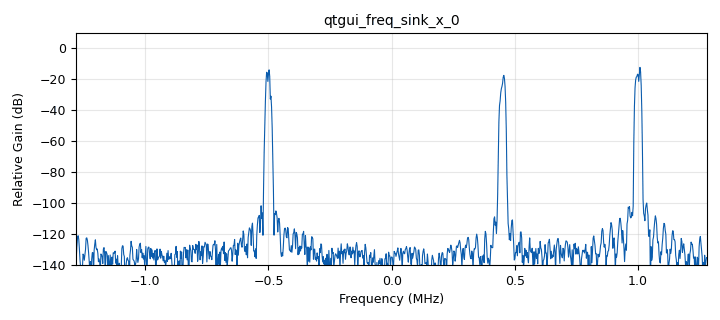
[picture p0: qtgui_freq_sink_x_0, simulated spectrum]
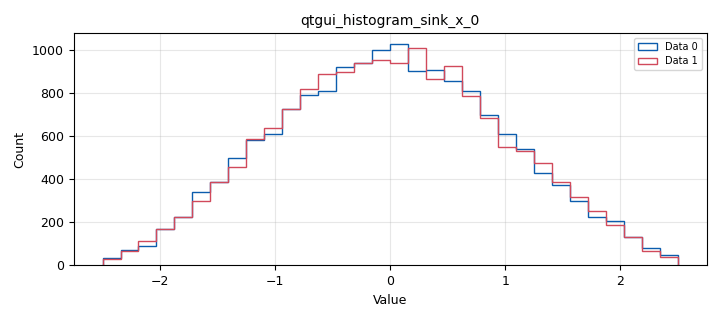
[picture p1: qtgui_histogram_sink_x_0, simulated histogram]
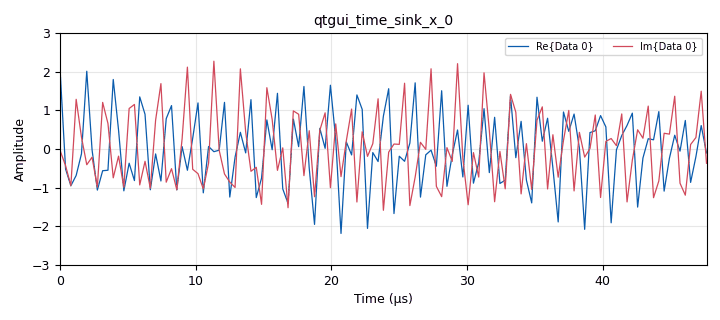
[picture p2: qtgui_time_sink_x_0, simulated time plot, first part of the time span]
options:
  parameters:
    generate_options: qt_gui
    id: generate_rfbb
    output_language: python
    title: Not titled yet
  states: {}

blocks:
- name: channel_rate
  id: variable
  parameters:
    value: '80000'
  states: {}
- name: interpolation
  id: variable
  parameters:
    value: '32'
  states: {}
- name: symbol_rate
  id: variable
  parameters:
    value: '18000'
  states: {}
- name: analog_random_source_x_0
  id: analog_random_source_x
  parameters:
    max: '4'
    min: '0'
    num_samps: '3072'
    repeat: 'True'
    type: byte
  states: {}
- name: analog_random_source_x_0_0
  id: analog_random_source_x
  parameters:
    max: '4'
    min: '0'
    num_samps: '4096'
    repeat: 'True'
    type: byte
  states: {}
- name: analog_random_source_x_0_0_0
  id: analog_random_source_x
  parameters:
    max: '4'
    min: '0'
    num_samps: '2048'
    repeat: 'True'
    type: byte
  states: {}
- name: analog_sig_source_x_0
  id: analog_sig_source_x
  parameters:
    amp: '1.1'
    freq: '1000000'
    offset: '0'
    phase: '0'
    samp_rate: channel_rate*interpolation
    type: complex
    waveform: analog.GR_COS_WAVE
  states: {}
- name: analog_sig_source_x_0_0
  id: analog_sig_source_x
  parameters:
    amp: '0.8'
    freq: '-500000'
    offset: '0'
    phase: '0'
    samp_rate: channel_rate*interpolation
    type: complex
    waveform: analog.GR_COS_WAVE
  states: {}
- name: analog_sig_source_x_0_0_0
  id: analog_sig_source_x
  parameters:
    amp: '0.5'
    freq: '450000'
    offset: '0'
    phase: '0'
    samp_rate: channel_rate*interpolation
    type: complex
    waveform: analog.GR_COS_WAVE
  states: {}
- name: blocks_add_xx_0
  id: blocks_add_xx
  parameters:
    num_inputs: '3'
    type: complex
  states: {}
- name: blocks_complex_to_float_0
  id: blocks_complex_to_float
  parameters: {}
  states: {}
- name: blocks_multiply_xx_0
  id: blocks_multiply_xx
  parameters:
    type: complex
  states: {}
- name: blocks_multiply_xx_0_0
  id: blocks_multiply_xx
  parameters:
    type: complex
  states: {}
- name: blocks_multiply_xx_0_0_0
  id: blocks_multiply_xx
  parameters:
    type: complex
  states: {}
- name: blocks_throttle2_0
  id: blocks_throttle2
  parameters:
    samples_per_second: channel_rate*interpolation
    type: complex
  states: {}
- name: epy_block_1
  id: epy_block
  parameters:
    _source_code: |
      """
      tetra_pi4dqpsk Mapper - Embedded Python Blocks
      input:  dibit stream (02 bits per byte) at 18kdibit
      output: iq complex signal at 36ksps
      """

      import numpy as np
      from gnuradio import gr

      class Pi4DQPSK(gr.interp_block):
          # Create our raised-cosine filter
          num_taps = 11 * 2 + 1
          beta = 0.35
          Ts = 2
          t = np.arange(num_taps) - (num_taps-1) // 2
          h = np.sinc(t/Ts) * np.cos(np.pi*beta*t/Ts) / (1 - (2*beta*t/Ts)**2)
          preConvI = np.array([0] * 22, dtype = 'float32')
          preConvQ = np.array([0] * 22, dtype = 'float32')
          
          def __init__(self,):
              gr.interp_block.__init__(
                  self,
                  name='Pi4DQPSK 18kDibit-to-36kIQk',   	# will show up in GRC
                  in_sig=[np.uint8,],
                  out_sig=[np.complex64], interp = 2
              )
              self.interp = 2        
              self.cur_phase_index = 	0				# current phase index value S(0) = 1
              
          def work(self, input_items, output_items):
              # Phase Index Change Table: corresponding to current phase (row 0-7) and current dibit value (column 0-3)
              # B2k_1,B2k:   00 01 10 11
                  
              phase_shift = (1, 3, 7, 5)

              # Phase value corresponding to Phase Index
              IQ_table = (( np.cos(np.pi/4 * 0) , np.sin(np.pi/4 * 0) ),
                          ( np.cos(np.pi/4 * 1) , np.sin(np.pi/4 * 1) ),
                          ( np.cos(np.pi/4 * 2) , np.sin(np.pi/4 * 2) ),
                          ( np.cos(np.pi/4 * 3) , np.sin(np.pi/4 * 3) ),
                          ( np.cos(np.pi/4 * 4) , np.sin(np.pi/4 * 4) ),
                          ( np.cos(np.pi/4 * 5) , np.sin(np.pi/4 * 5) ),
                          ( np.cos(np.pi/4 * 6) , np.sin(np.pi/4 * 6) ),
                          ( np.cos(np.pi/4 * 7) , np.sin(np.pi/4 * 7) ))

              # perform rrc filter
              tempI = np.array([0] * (len(input_items[0]) * 2), dtype='float32') # 22 = rrc_taps - 1
              tempQ = np.array([0] * (len(input_items[0]) * 2), dtype='float32') # 22 = rrc_taps - 1

              for i in range (0,len(input_items[0])):
                  input_dibit = input_items[0][i]
                      
                  self.cur_phase_index += phase_shift[ input_dibit ]
                  if self.cur_phase_index >= 8:
                      self.cur_phase_index -= 8

                  tempI[i*2] = IQ_table[ self.cur_phase_index ][0]
                  tempQ[i*2] = IQ_table[ self.cur_phase_index ][1]

              tempIconvolved = np.convolve(tempI, Pi4DQPSK.h) 
              tempQconvolved = np.convolve(tempQ, Pi4DQPSK.h)
              
              for i in range(len(Pi4DQPSK.h)-1):
                  tempIconvolved[i] += Pi4DQPSK.preConvI[i]
                  tempQconvolved[i] += Pi4DQPSK.preConvQ[i]

              for i in range(len(Pi4DQPSK.h)-1):
                  Pi4DQPSK.preConvI[-i-1] = tempIconvolved[-i-1]
                  Pi4DQPSK.preConvQ[-i-1] = tempQconvolved[-i-1]
              for i in range(len(input_items[0])*2):
                  output_items[0][i] = tempIconvolved [i] + 1j*tempQconvolved[i]
                                         
              return len(output_items[0])
  states: {}
- name: epy_block_1_0
  id: epy_block
  parameters:
    _source_code: |
      """
      tetra_pi4dqpsk Mapper - Embedded Python Blocks
      input:  dibit stream (02 bits per byte) at 18kdibit
      output: iq complex signal at 36ksps
      """

      import numpy as np
      from gnuradio import gr

      class Pi4DQPSK(gr.interp_block):
          # Create our raised-cosine filter
          num_taps = 11 * 2 + 1
          beta = 0.35
          Ts = 2
          t = np.arange(num_taps) - (num_taps-1) // 2
          h = np.sinc(t/Ts) * np.cos(np.pi*beta*t/Ts) / (1 - (2*beta*t/Ts)**2)
          preConvI = np.array([0] * 22, dtype = 'float32')
          preConvQ = np.array([0] * 22, dtype = 'float32')
          
          def __init__(self,):
              gr.interp_block.__init__(
                  self,
                  name='Pi4DQPSK 18kDibit-to-36kIQk',   	# will show up in GRC
                  in_sig=[np.uint8,],
                  out_sig=[np.complex64], interp = 2
              )
              self.interp = 2        
              self.cur_phase_index = 	0				# current phase index value S(0) = 1
              
          def work(self, input_items, output_items):
              # Phase Index Change Table: corresponding to current phase (row 0-7) and current dibit value (column 0-3)
              # B2k_1,B2k:   00 01 10 11
                  
              phase_shift = (1, 3, 7, 5)

              # Phase value corresponding to Phase Index
              IQ_table = (( np.cos(np.pi/4 * 0) , np.sin(np.pi/4 * 0) ),
                          ( np.cos(np.pi/4 * 1) , np.sin(np.pi/4 * 1) ),
                          ( np.cos(np.pi/4 * 2) , np.sin(np.pi/4 * 2) ),
                          ( np.cos(np.pi/4 * 3) , np.sin(np.pi/4 * 3) ),
                          ( np.cos(np.pi/4 * 4) , np.sin(np.pi/4 * 4) ),
                          ( np.cos(np.pi/4 * 5) , np.sin(np.pi/4 * 5) ),
                          ( np.cos(np.pi/4 * 6) , np.sin(np.pi/4 * 6) ),
                          ( np.cos(np.pi/4 * 7) , np.sin(np.pi/4 * 7) ))

              # perform rrc filter
              tempI = np.array([0] * (len(input_items[0]) * 2), dtype='float32') # 22 = rrc_taps - 1
              tempQ = np.array([0] * (len(input_items[0]) * 2), dtype='float32') # 22 = rrc_taps - 1

              for i in range (0,len(input_items[0])):
                  input_dibit = input_items[0][i]
                      
                  self.cur_phase_index += phase_shift[ input_dibit ]
                  if self.cur_phase_index >= 8:
                      self.cur_phase_index -= 8

                  tempI[i*2] = IQ_table[ self.cur_phase_index ][0]
                  tempQ[i*2] = IQ_table[ self.cur_phase_index ][1]

              tempIconvolved = np.convolve(tempI, Pi4DQPSK.h) 
              tempQconvolved = np.convolve(tempQ, Pi4DQPSK.h)
              
              for i in range(len(Pi4DQPSK.h)-1):
                  tempIconvolved[i] += Pi4DQPSK.preConvI[i]
                  tempQconvolved[i] += Pi4DQPSK.preConvQ[i]

              for i in range(len(Pi4DQPSK.h)-1):
                  Pi4DQPSK.preConvI[-i-1] = tempIconvolved[-i-1]
                  Pi4DQPSK.preConvQ[-i-1] = tempQconvolved[-i-1]
              for i in range(len(input_items[0])*2):
                  output_items[0][i] = tempIconvolved [i] + 1j*tempQconvolved[i]
                                         
              return len(output_items[0])
  states: {}
- name: epy_block_1_0_0
  id: epy_block
  parameters:
    _source_code: |
      """
      tetra_pi4dqpsk Mapper - Embedded Python Blocks
      input:  dibit stream (02 bits per byte) at 18kdibit
      output: iq complex signal at 36ksps
      """

      import numpy as np
      from gnuradio import gr

      class Pi4DQPSK(gr.interp_block):
          # Create our raised-cosine filter
          num_taps = 11 * 2 + 1
          beta = 0.35
          Ts = 2
          t = np.arange(num_taps) - (num_taps-1) // 2
          h = np.sinc(t/Ts) * np.cos(np.pi*beta*t/Ts) / (1 - (2*beta*t/Ts)**2)
          preConvI = np.array([0] * 22, dtype = 'float32')
          preConvQ = np.array([0] * 22, dtype = 'float32')
          
          def __init__(self,):
              gr.interp_block.__init__(
                  self,
                  name='Pi4DQPSK 18kDibit-to-36kIQk',   	# will show up in GRC
                  in_sig=[np.uint8,],
                  out_sig=[np.complex64], interp = 2
              )
              self.interp = 2        
              self.cur_phase_index = 	0				# current phase index value S(0) = 1
              
          def work(self, input_items, output_items):
              # Phase Index Change Table: corresponding to current phase (row 0-7) and current dibit value (column 0-3)
              # B2k_1,B2k:   00 01 10 11
                  
              phase_shift = (1, 3, 7, 5)

              # Phase value corresponding to Phase Index
              IQ_table = (( np.cos(np.pi/4 * 0) , np.sin(np.pi/4 * 0) ),
                          ( np.cos(np.pi/4 * 1) , np.sin(np.pi/4 * 1) ),
                          ( np.cos(np.pi/4 * 2) , np.sin(np.pi/4 * 2) ),
                          ( np.cos(np.pi/4 * 3) , np.sin(np.pi/4 * 3) ),
                          ( np.cos(np.pi/4 * 4) , np.sin(np.pi/4 * 4) ),
                          ( np.cos(np.pi/4 * 5) , np.sin(np.pi/4 * 5) ),
                          ( np.cos(np.pi/4 * 6) , np.sin(np.pi/4 * 6) ),
                          ( np.cos(np.pi/4 * 7) , np.sin(np.pi/4 * 7) ))

              # perform rrc filter
              tempI = np.array([0] * (len(input_items[0]) * 2), dtype='float32') # 22 = rrc_taps - 1
              tempQ = np.array([0] * (len(input_items[0]) * 2), dtype='float32') # 22 = rrc_taps - 1

              for i in range (0,len(input_items[0])):
                  input_dibit = input_items[0][i]
                      
                  self.cur_phase_index += phase_shift[ input_dibit ]
                  if self.cur_phase_index >= 8:
                      self.cur_phase_index -= 8

                  tempI[i*2] = IQ_table[ self.cur_phase_index ][0]
                  tempQ[i*2] = IQ_table[ self.cur_phase_index ][1]

              tempIconvolved = np.convolve(tempI, Pi4DQPSK.h) 
              tempQconvolved = np.convolve(tempQ, Pi4DQPSK.h)
              
              for i in range(len(Pi4DQPSK.h)-1):
                  tempIconvolved[i] += Pi4DQPSK.preConvI[i]
                  tempQconvolved[i] += Pi4DQPSK.preConvQ[i]

              for i in range(len(Pi4DQPSK.h)-1):
                  Pi4DQPSK.preConvI[-i-1] = tempIconvolved[-i-1]
                  Pi4DQPSK.preConvQ[-i-1] = tempQconvolved[-i-1]
              for i in range(len(input_items[0])*2):
                  output_items[0][i] = tempIconvolved [i] + 1j*tempQconvolved[i]
                                         
              return len(output_items[0])
  states: {}
- name: mmse_resampler_xx_0
  id: mmse_resampler_xx
  parameters:
    phase_shift: '0'
    resamp_ratio: (symbol_rate*2)/(channel_rate)
    type: complex
  states: {state: disabled}
- name: mmse_resampler_xx_0_0
  id: mmse_resampler_xx
  parameters:
    phase_shift: '0'
    resamp_ratio: (symbol_rate*2)/(channel_rate)
    type: complex
  states: {state: disabled}
- name: mmse_resampler_xx_0_0_0
  id: mmse_resampler_xx
  parameters:
    phase_shift: '0'
    resamp_ratio: (symbol_rate*2)/(channel_rate)
    type: complex
  states: {state: disabled}
- name: qtgui_freq_sink_x_0
  id: qtgui_freq_sink_x
  parameters:
    bw: channel_rate*interpolation
    fc: '0'
    fftsize: '1024'
    type: complex
  states: {}
- name: qtgui_histogram_sink_x_0
  id: qtgui_histogram_sink_x
  parameters:
    bins: '32'
    nconnections: '2'
    size: 1024*16
    type: float
    xmax: '2.5'
    xmin: '-2.5'
  states: {}
- name: qtgui_time_sink_x_0
  id: qtgui_time_sink_x
  parameters:
    size: 1024*16
    srate: channel_rate*interpolation
    type: complex
    ymax: '3'
    ymin: '-3'
  states: {}
- name: rational_resampler_xxx_0
  id: rational_resampler_xxx
  parameters:
    decim: '9'
    interp: interpolation*20
    taps: ''
    type: ccc
  states: {}
- name: rational_resampler_xxx_0_0
  id: rational_resampler_xxx
  parameters:
    decim: '9'
    interp: interpolation*20
    type: ccc
  states: {}
- name: rational_resampler_xxx_0_0_0
  id: rational_resampler_xxx
  parameters:
    decim: '9'
    interp: interpolation*20
    type: ccc
  states: {}

connections:
- [analog_random_source_x_0, '0', epy_block_1, '0']
- [analog_random_source_x_0_0, '0', epy_block_1_0, '0']
- [analog_random_source_x_0_0_0, '0', epy_block_1_0_0, '0']
- [analog_sig_source_x_0, '0', blocks_multiply_xx_0, '0']
- [analog_sig_source_x_0_0, '0', blocks_multiply_xx_0_0, '0']
- [analog_sig_source_x_0_0_0, '0', blocks_multiply_xx_0_0_0, '0']
- [blocks_add_xx_0, '0', blocks_throttle2_0, '0']
- [blocks_complex_to_float_0, '0', qtgui_histogram_sink_x_0, '0']
- [blocks_complex_to_float_0, '1', qtgui_histogram_sink_x_0, '1']
- [blocks_multiply_xx_0, '0', blocks_add_xx_0, '0']
- [blocks_multiply_xx_0_0, '0', blocks_add_xx_0, '1']
- [blocks_multiply_xx_0_0_0, '0', blocks_add_xx_0, '2']
- [blocks_throttle2_0, '0', blocks_complex_to_float_0, '0']
- [blocks_throttle2_0, '0', qtgui_freq_sink_x_0, '0']
- [blocks_throttle2_0, '0', qtgui_time_sink_x_0, '0']
- [epy_block_1, '0', mmse_resampler_xx_0, '0']
- [epy_block_1, '0', rational_resampler_xxx_0, '0']
- [epy_block_1_0, '0', mmse_resampler_xx_0_0, '0']
- [epy_block_1_0, '0', rational_resampler_xxx_0_0, '0']
- [epy_block_1_0_0, '0', mmse_resampler_xx_0_0_0, '0']
- [epy_block_1_0_0, '0', rational_resampler_xxx_0_0_0, '0']
- [mmse_resampler_xx_0, '0', rational_resampler_xxx_0, '0']
- [mmse_resampler_xx_0_0, '0', rational_resampler_xxx_0_0, '0']
- [mmse_resampler_xx_0_0_0, '0', rational_resampler_xxx_0_0_0, '0']
- [rational_resampler_xxx_0, '0', blocks_multiply_xx_0, '1']
- [rational_resampler_xxx_0_0, '0', blocks_multiply_xx_0_0, '1']
- [rational_resampler_xxx_0_0_0, '0', blocks_multiply_xx_0_0_0, '1']

metadata:
  file_format: 1
  grc_version: 3.10.10.0
